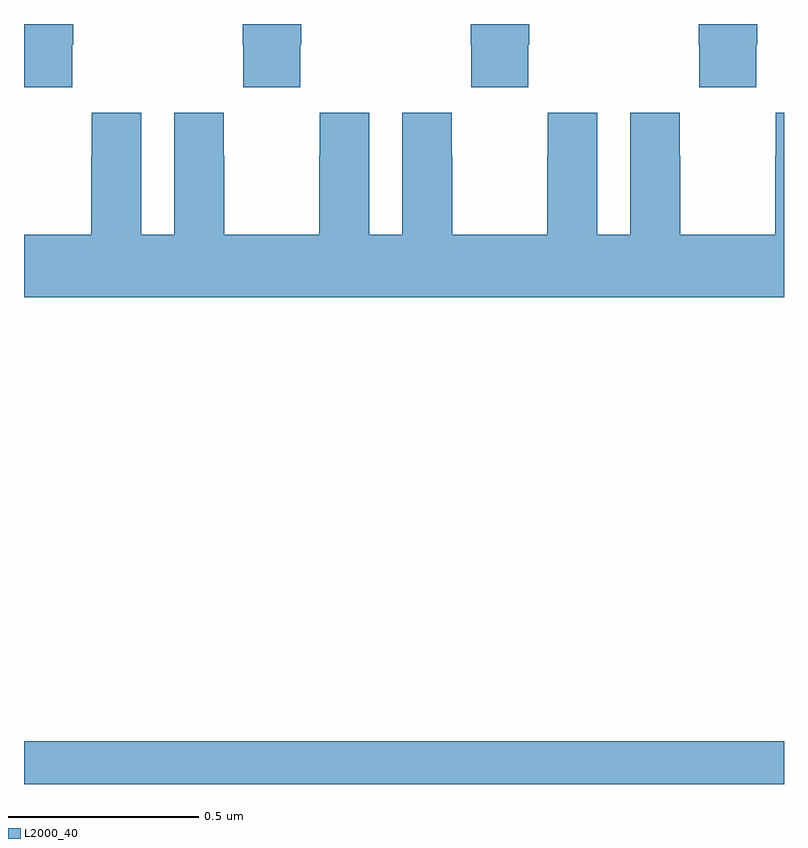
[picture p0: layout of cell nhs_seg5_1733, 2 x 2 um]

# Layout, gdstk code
import gdstk
lib = gdstk.Library(unit=1e-6, precision=1e-09)
def R(c, l, rs):  # rectangles x0, y0, x1, y1
    for r in rs: c.add(gdstk.rectangle(r[:2], r[2:], *l))
def P(c, l, *ps):  # polygons
    for p in ps: c.add(gdstk.Polygon(p, *l))
L2000_40 = (2000, 40)

nhs_seg5_1733 = lib.new_cell('nhs_seg5_1733')
R(nhs_seg5_1733, L2000_40, [(134,868.799,136,868.912)])
P(nhs_seg5_1733, L2000_40, [(134.127,870.745),(134.13,870.745),(134.13,870.799),(134,870.799),(134,870.633),(134.127,870.633)],
  [(134.727,870.745),(134.73,870.745),(134.73,870.799),(134.575,870.799),(134.575,870.745),(134.577,870.745),(134.577,870.633),(134.727,870.633)],
  [(135.175,870.745),(135.177,870.745),(135.177,870.633),(135.327,870.633),(135.327,870.745),(135.33,870.745),(135.33,870.799),(135.175,870.799)],
  [(135.927,870.745),(135.93,870.745),(135.93,870.799),(135.775,870.799),(135.775,870.745),(135.777,870.745),(135.777,870.633),(135.927,870.633)],
  [(136,870.565),(135.978,870.565),(135.978,870.452),(135.977,870.452),(135.977,870.244),(135.727,870.244),(135.727,870.452),(135.726,870.452),(135.726,870.565),(135.596,870.565),(135.596,870.244),(135.508,870.244),(135.508,870.565),(135.378,870.565),(135.378,870.452),(135.377,870.452),(135.377,870.244),(135.127,870.244),(135.127,870.452),(135.126,870.452),(135.126,870.565),(134.996,870.565),(134.996,870.244),(134.908,870.244),(134.908,870.565),(134.778,870.565),(134.778,870.452),(134.777,870.452),(134.777,870.244),(134.527,870.244),(134.527,870.452),(134.526,870.452),(134.526,870.565),(134.396,870.565),(134.396,870.244),(134.308,870.244),(134.308,870.565),(134.178,870.565),(134.178,870.452),(134.177,870.452),(134.177,870.244),(134,870.244),(134,870.08),(136,870.08)])

lib.write_gds('nhs_seg5_1733.gds')
